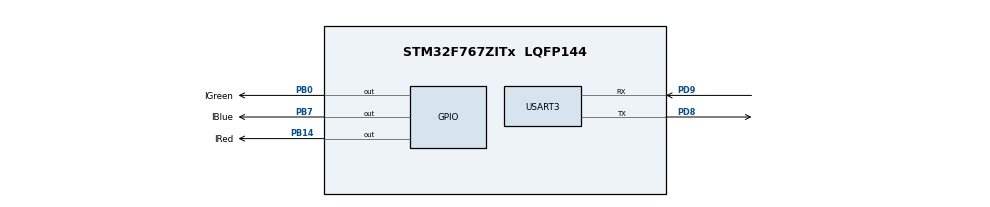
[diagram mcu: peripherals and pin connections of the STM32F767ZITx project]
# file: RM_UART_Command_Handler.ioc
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FREERTOS.BinarySemaphores01=deferredCoordinatorBS,Dynamic,NULL,Available
FREERTOS.Queues01=selenoidMsgQueue,16,SELENOID_Ctrl_msg,0,Dynamic,NULL,NULL
FREERTOS.Tasks01=defaultTask,8,128,StartDefaultTask,Default,NULL,Dynamic,NULL,NULL;coordinator,32,128,coordinatorHandler,Default,NULL,Dynamic,NULL,NULL;selenoidControl,24,128,selenoidControllerHandler,Default,NULL,Dynamic,NULL,NULL
FREERTOS.configUSE_NEWLIB_REENTRANT=1
Mcu.Family=STM32F7
Mcu.Name=STM32F767ZITx
Mcu.Package=LQFP144
NVIC.PriorityGroup=NVIC_PRIORITYGROUP_4
NVIC.TIM1_UP_TIM10_IRQn=true\:15\:0\:false\:false\:true\:false\:false\:true\:true
NVIC.TimeBase=TIM1_UP_TIM10_IRQn
NVIC.TimeBaseIP=TIM1
NVIC.USART3_IRQn=true\:5\:0\:false\:false\:true\:true\:true\:true\:true
PB0.GPIO_Label=IGreen
PB0.Signal=GPIO_Output
PB14.GPIO_Label=IRed
PB14.Signal=GPIO_Output
PB7.GPIO_Label=IBlue
PB7.Signal=GPIO_Output
PD8.Mode=Asynchronous
PD8.Signal=USART3_TX
PD9.Mode=Asynchronous
PD9.Signal=USART3_RX
ProjectManager.HeapSize=0x200
ProjectManager.StackSize=0x400
ProjectManager.TargetToolchain=STM32CubeIDE
RCC.HSE_VALUE=25000000
RCC.HSI_VALUE=16000000
RCC.LSE_VALUE=32768
RCC.USBFreq_Value=96000000
RCC.VCOOutputFreq_Value=192000000
USART3.VirtualMode-Asynchronous=VM_ASYNC
VP_FREERTOS_VS_CMSIS_V2.Mode=CMSIS_V2
VP_SYS_VS_tim1.Mode=TIM1
board=custom

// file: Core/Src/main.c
/* USER CODE BEGIN Header */
/**
  ******************************************************************************
  * @file           : main.c
  * @brief          : Main program body
  ******************************************************************************
  * @attention
  *
  * Copyright (c) 2024 STMicroelectronics.
  * All rights reserved.
  *
  * This software is licensed under terms that can be found in the LICENSE file
  * in the root directory of this software component.
  * If no LICENSE file comes with this software, it is provided AS-IS.
  *
  ******************************************************************************
  */
/* USER CODE END Header */
#include "main.h"
#include "cmsis_os.h"

/* USER CODE BEGIN Includes */
#include "core_json.h"
#include "stdlib.h"
#include <string.h>
/* USER CODE END Includes */

UART_HandleTypeDef huart3;

/* Definitions for defaultTask */
osThreadId_t defaultTaskHandle;
const osThreadAttr_t defaultTask_attributes = {
  .name = "defaultTask",
  .stack_size = 128 * 4,
  .priority = (osPriority_t) osPriorityLow,
};
/* Definitions for coordinator */
osThreadId_t coordinatorHandle;
const osThreadAttr_t coordinator_attributes = {
  .name = "coordinator",
  .stack_size = 128 * 4,
  .priority = (osPriority_t) osPriorityAboveNormal,
};
/* Definitions for selenoidControl */
osThreadId_t selenoidControlHandle;
const osThreadAttr_t selenoidControl_attributes = {
  .name = "selenoidControl",
  .stack_size = 128 * 4,
  .priority = (osPriority_t) osPriorityNormal,
};
/* Definitions for selenoidMsgQueue */
osMessageQueueId_t selenoidMsgQueueHandle;
const osMessageQueueAttr_t selenoidMsgQueue_attributes = {
  .name = "selenoidMsgQueue"
};
/* Definitions for deferredCoordinatorBS */
osSemaphoreId_t deferredCoordinatorBSHandle;
const osSemaphoreAttr_t deferredCoordinatorBS_attributes = {
  .name = "deferredCoordinatorBS"
};

void SystemClock_Config(void);
static void MX_GPIO_Init(void);
static void MX_USART3_UART_Init(void);
void StartDefaultTask(void *argument);
void coordinatorHandler(void *argument);
void selenoidControllerHandler(void *argument);

/* USER CODE BEGIN 0 */

/*
 *  The test message is assumed constant. i.e. {"cmd":"00","id":"01","frequency":"30","duration":"01"}
 *  The length of the message is 44 + 1 for \n.
 */
#define BUFFER_SZ 55
typedef char * Ctrl_msg;

// UART buffer
uint8_t buffer[BUFFER_SZ];
uint8_t ctrBuffer[BUFFER_SZ];

typedef enum {
	SELENOID = 0, // SELENOID
	PUMP,
	HUMIDITY      // HUMIDITY
} CRT_Type;

// Message format for LED control (LED_Crt_msg)
typedef struct{
	uint8_t id;
	uint8_t frequency;
	uint8_t duration;
} SELENOID_Ctrl_msg;

/* USER CODE END 0 */

int main(void)
{

  /* MCU Configuration--------------------------------------------------------*/

  /* Reset of all peripherals, Initializes the Flash interface and the Systick. */
  HAL_Init();

  /* Configure the system clock */
  SystemClock_Config();

  /* Initialize all configured peripherals */
  MX_GPIO_Init();
  MX_USART3_UART_Init();

  /* Init scheduler */
  osKernelInitialize();

  /* Create the semaphores(s) */
  /* creation of deferredCoordinatorBS */
  deferredCoordinatorBSHandle = osSemaphoreNew(1, 0, &deferredCoordinatorBS_attributes);

  /* USER CODE BEGIN RTOS_TIMERS */
  /* start timers, add new ones, ... */
  HAL_UART_Receive_IT(&huart3, buffer, BUFFER_SZ);

  /* USER CODE END RTOS_TIMERS */

  /* Create the queue(s) */
  /* creation of selenoidMsgQueue */
  selenoidMsgQueueHandle = osMessageQueueNew (16, sizeof(SELENOID_Ctrl_msg), &selenoidMsgQueue_attributes);

  /* Create the thread(s) */
  /* creation of defaultTask */
  defaultTaskHandle = osThreadNew(StartDefaultTask, NULL, &defaultTask_attributes);

  /* creation of coordinator */
  coordinatorHandle = osThreadNew(coordinatorHandler, NULL, &coordinator_attributes);

  /* creation of selenoidControl */
  selenoidControlHandle = osThreadNew(selenoidControllerHandler, NULL, &selenoidControl_attributes);

  /* Start scheduler */
  osKernelStart();

  /* We should never get here as control is now taken by the scheduler */

  /* Infinite loop */
  while (1)
  {

  }
}

void SystemClock_Config(void)
{
  RCC_OscInitTypeDef RCC_OscInitStruct = {0};
  RCC_ClkInitTypeDef RCC_ClkInitStruct = {0};

  /** Configure the main internal regulator output voltage
  */
  __HAL_RCC_PWR_CLK_ENABLE();
  __HAL_PWR_VOLTAGESCALING_CONFIG(PWR_REGULATOR_VOLTAGE_SCALE3);

  /** Initializes the RCC Oscillators according to the specified parameters
  * in the RCC_OscInitTypeDef structure.
  */
  RCC_OscInitStruct.OscillatorType = RCC_OSCILLATORTYPE_HSI;
  RCC_OscInitStruct.HSIState = RCC_HSI_ON;
  RCC_OscInitStruct.HSICalibrationValue = RCC_HSICALIBRATION_DEFAULT;
  RCC_OscInitStruct.PLL.PLLState = RCC_PLL_NONE;
  if (HAL_RCC_OscConfig(&RCC_OscInitStruct) != HAL_OK)
  {
    Error_Handler();
  }

  /** Initializes the CPU, AHB and APB buses clocks
  */
  RCC_ClkInitStruct.ClockType = RCC_CLOCKTYPE_HCLK|RCC_CLOCKTYPE_SYSCLK
                              |RCC_CLOCKTYPE_PCLK1|RCC_CLOCKTYPE_PCLK2;
  RCC_ClkInitStruct.SYSCLKSource = RCC_SYSCLKSOURCE_HSI;
  RCC_ClkInitStruct.AHBCLKDivider = RCC_SYSCLK_DIV1;
  RCC_ClkInitStruct.APB1CLKDivider = RCC_HCLK_DIV1;
  RCC_ClkInitStruct.APB2CLKDivider = RCC_HCLK_DIV1;

  if (HAL_RCC_ClockConfig(&RCC_ClkInitStruct, FLASH_LATENCY_0) != HAL_OK)
  {
    Error_Handler();
  }
}

static void MX_USART3_UART_Init(void)
{

  huart3.Instance = USART3;
  huart3.Init.BaudRate = 115200;
  huart3.Init.WordLength = UART_WORDLENGTH_8B;
  huart3.Init.StopBits = UART_STOPBITS_1;
  huart3.Init.Parity = UART_PARITY_NONE;
  huart3.Init.Mode = UART_MODE_TX_RX;
  huart3.Init.HwFlowCtl = UART_HWCONTROL_NONE;
  huart3.Init.OverSampling = UART_OVERSAMPLING_16;
  huart3.Init.OneBitSampling = UART_ONE_BIT_SAMPLE_DISABLE;
  huart3.AdvancedInit.AdvFeatureInit = UART_ADVFEATURE_NO_INIT;
  if (HAL_UART_Init(&huart3) != HAL_OK)
  {
    Error_Handler();
  }

}

static void MX_GPIO_Init(void)
{
  GPIO_InitTypeDef GPIO_InitStruct = {0};

  /* GPIO Ports Clock Enable */
  __HAL_RCC_GPIOB_CLK_ENABLE();
  __HAL_RCC_GPIOD_CLK_ENABLE();

  /*Configure GPIO pin Output Level */
  HAL_GPIO_WritePin(GPIOB, IGreen_Pin|IRed_Pin|IBlue_Pin, GPIO_PIN_RESET);

  /*Configure GPIO pins : IGreen_Pin IRed_Pin IBlue_Pin */
  GPIO_InitStruct.Pin = IGreen_Pin|IRed_Pin|IBlue_Pin;
  GPIO_InitStruct.Mode = GPIO_MODE_OUTPUT_PP;
  GPIO_InitStruct.Pull = GPIO_NOPULL;
  GPIO_InitStruct.Speed = GPIO_SPEED_FREQ_LOW;
  HAL_GPIO_Init(GPIOB, &GPIO_InitStruct);

}

/* USER CODE BEGIN 4 */
void HAL_UART_RxCpltCallback(UART_HandleTypeDef *huart)
{
	if(huart->Instance == USART3)
	{
		// Receive the USART message.
		HAL_UART_Receive_IT(&huart3, buffer, sizeof(buffer));

		// Copy and signal to deferred processing to the coordinatorHandle
		memcpy(ctrBuffer, buffer, BUFFER_SZ);
		ctrBuffer[BUFFER_SZ] = '\0';

		osSemaphoreRelease(deferredCoordinatorBSHandle);
	}
}
/* USER CODE END 4 */

void StartDefaultTask(void *argument)
{
  for(;;)
  {
    osDelay(1);
  }
}

void coordinatorHandler(void *argument)
{
  /* USER CODE BEGIN coordinatorHandler */
	/* Infinite loop */
	//osStatus_t status;

	// JSON variables
	const char key [] = "cmd";	// command type.
	size_t key_length = sizeof(key) - 1;

	// Extracted values from JSON
	char * val;
	size_t val_length;

	for(;;)
	{
		if (osSemaphoreAcquire(deferredCoordinatorBSHandle, osWaitForever) == osOK){
			size_t msg_length = sizeof(ctrBuffer);
			if (JSON_Validate( (const char *) ctrBuffer, msg_length ) == JSONSuccess){
				// Evaluate to which controller the message corresponds
				if (JSON_Search( (char *) ctrBuffer, msg_length, key, key_length, &val, &val_length) == JSONSuccess){
					CRT_Type cmd = atoi(val);

					// Forward the message to the appropriate controller.
					switch(cmd)
					{
						case SELENOID:
							// Parse the selenoid control message
							SELENOID_Ctrl_msg selenoid;
							if (JSON_Search( (char *) ctrBuffer, msg_length, "id", 2, &val, &val_length) == JSONSuccess)
								selenoid.id = atoi(val);
							if (JSON_Search( (char *) ctrBuffer, msg_length, "duration", 8, &val, &val_length) == JSONSuccess)
								selenoid.duration = atoi(val);
							if (JSON_Search( (char *) ctrBuffer, msg_length, "frequency", 9, &val, &val_length) == JSONSuccess)
								selenoid.frequency = atoi(val);
							// It should pass the contents by copy
							osMessageQueuePut(selenoidMsgQueueHandle, &selenoid, 0U, 0U);
							break;
						case PUMP:
							// Parse the pump control message
							break;
						case HUMIDITY:
							// Parse the humidity sensor control message
							break;
							// Unrecognized control message
						default:
					}
				}
			}

			// Reset the control buffer
			memset(ctrBuffer, 0, BUFFER_SZ);
		}
	}
  /* USER CODE END coordinatorHandler */
}

void selenoidControllerHandler(void *argument)
{
  /* USER CODE BEGIN selenoidControllerHandler */
	SELENOID_Ctrl_msg slndCrtMsg, selenoid;
	TickType_t interval = 0;
	TickType_t last = 0;

	// Default values
	selenoid.id = 255;
	selenoid.duration = 0;
	selenoid.frequency = 0;
	for(;;)
	{
		 osStatus_t status = osMessageQueueGet(selenoidMsgQueueHandle, &slndCrtMsg, NULL, 0);
		if ( status == osOK) {
			selenoid.id	= slndCrtMsg.id;
			selenoid.duration = pdMS_TO_TICKS(slndCrtMsg.duration);
			selenoid.frequency = slndCrtMsg.frequency;
		} else if (selenoid.id != 255) {
			last = xTaskGetTickCount();
			do {
				HAL_GPIO_TogglePin(IBlue_GPIO_Port, IBlue_Pin);
				osDelay(selenoid.frequency); // Emulate 20 Hz
				interval = xTaskGetTickCount() - last;
			}while(interval < selenoid.duration);
		}
	}
  /* USER CODE END selenoidControllerHandler */
}

void HAL_TIM_PeriodElapsedCallback(TIM_HandleTypeDef *htim)
{
  if (htim->Instance == TIM1) {
    HAL_IncTick();
  }
}

void Error_Handler(void)
{
  __disable_irq();
  while (1)
  {
  }
}
